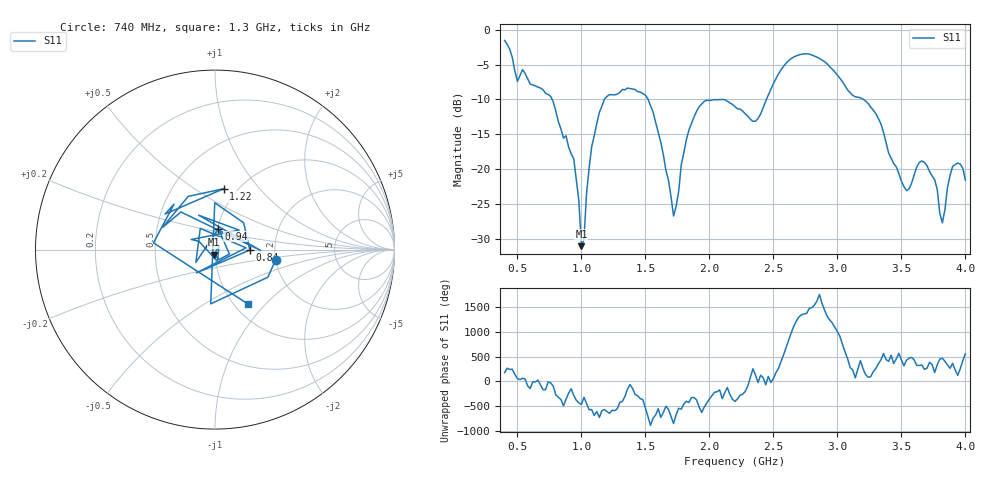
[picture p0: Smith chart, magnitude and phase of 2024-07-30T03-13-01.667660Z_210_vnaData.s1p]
!Created with skrf (http://scikit-rf.org).
# Hz S RI R 50.0
!freq ReS11 ImS11
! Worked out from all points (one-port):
!   181 points, 400 MHz to 4 GHz, reference 50 ohm
!   lowest |S11| = -31.1 dB at 1 GHz (marker M1), VSWR 1.06, Z = 49.5 - j2.72 ohm
!   |S11| at or under -10 dB: 770.8 MHz to 1.179 GHz (408.5 MHz wide, 41.9 % of centre); 1.521 GHz to 2.446 GHz (924.7 MHz wide, 46.6 % of centre); 3.203 GHz to end of sweep
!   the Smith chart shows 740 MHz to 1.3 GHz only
!   S11 on the Smith chart (normalised r, x): 740 MHz: 2.00, -0.26; 840 MHz: 1.48, -0.01; 940 MHz: 1.01, +0.24; 1.22 GHz: 0.86, +0.66; 1.3 GHz: 1.15, -0.80
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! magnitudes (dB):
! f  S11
! 400 MHz  -1.5
! 500 MHz  -7.4
! 740 MHz  -9.3
! 840 MHz  -14.3
! 860 MHz  -15.6
! 940 MHz  -18.5
! 980 MHz  -24.5
! 1 GHz  -31.1
! 1.02 GHz  -30.2
! 1.08 GHz  -16.8
! 1.22 GHz  -9.3
! 1.3 GHz  -9.0
! 1.52 GHz  -10.0
! 1.72 GHz  -26.8
! 1.76 GHz  -23.2
! 1.82 GHz  -15.8
! 1.92 GHz  -11.0
! 2.2 GHz  -11.1
! 2.36 GHz  -13.1
! 2.66 GHz  -3.9
! 3.1 GHz  -9.0
! 3.3 GHz  -12.0
! 3.56 GHz  -22.9
! 3.68 GHz  -19.1
! 3.76 GHz  -21.5
! 3.82 GHz  -27.7
! 3.9 GHz  -19.6
! 4 GHz  -21.6
